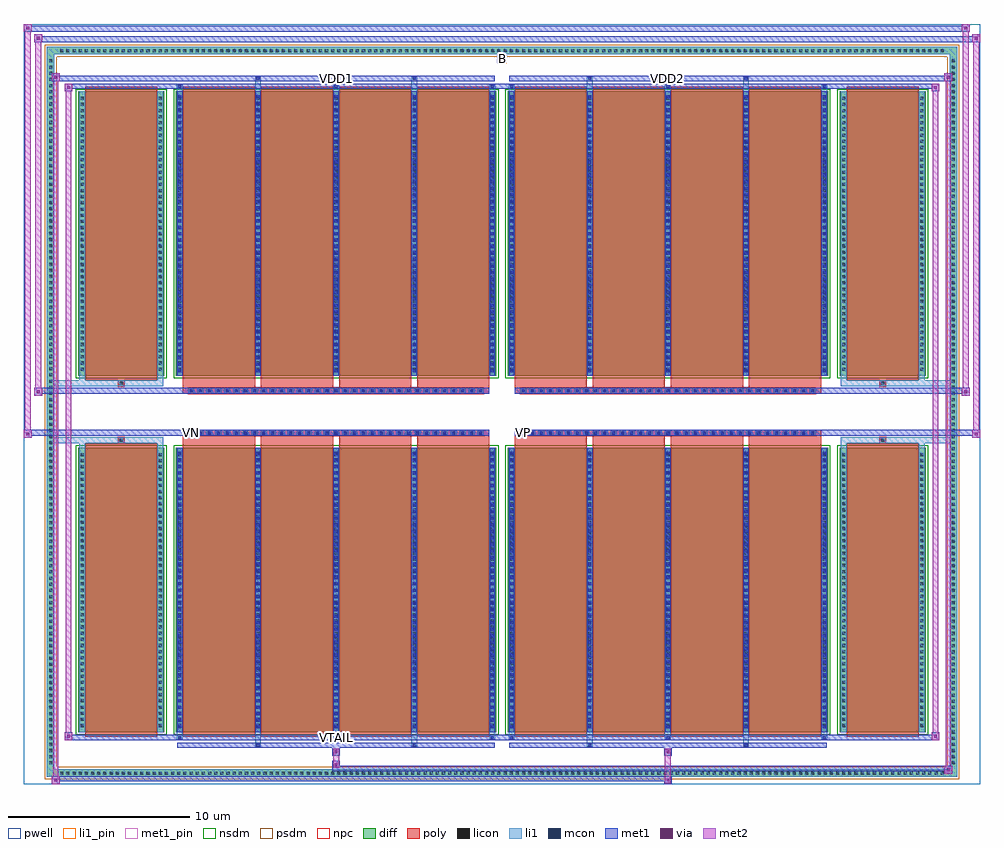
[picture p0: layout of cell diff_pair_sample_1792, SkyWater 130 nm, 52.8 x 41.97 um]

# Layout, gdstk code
import gdstk
lib = gdstk.Library(unit=1e-6, precision=5e-09)
def R(c, l, rs):  # rectangles x0, y0, x1, y1
    for r in rs: c.add(gdstk.rectangle(r[:2], r[2:], *l))
def A(c, l, x, y, w, h, nx, ny, dx, dy):  # array of equal rectangles
    R(c, l, [(x+i*dx, y+j*dy, x+i*dx+w, y+j*dy+h) for i in range(nx) for j in range(ny)])
def P(c, l, *ps):  # polygons
    for p in ps: c.add(gdstk.Polygon(p, *l))
pwell = (64, 44)
diff = (65, 20)
poly = (66, 20)
licon = (66, 44)
li1_pin = (67, 16)
li1 = (67, 20)
mcon = (67, 44)
met1_pin = (68, 16)
met1 = (68, 20)
via = (68, 44)
met2 = (69, 20)
nsdm = (93, 44)
psdm = (94, 20)
npc = (95, 20)

diff_pair_sample_1792 = lib.new_cell('diff_pair_sample_1792')
R(diff_pair_sample_1792, pwell, [(-26.4,-20.55,26.4,21.42), (-23.72,-18.74,-0.01,-0.8), (0.01,-18.74,23.72,-0.8), (-23.72,0.8,-0.01,18.74), (0.01,0.8,23.72,18.74)])
A(diff_pair_sample_1792, diff, -24.515, -20.15, 0.41, 0.41, 144, 2, 0.34, 39.89)
A(diff_pair_sample_1792, diff, -25.13, -19.585, 0.41, 0.41, 1, 115, 0, 0.34)
A(diff_pair_sample_1792, diff, 24.72, -19.585, 0.41, 0.41, 1, 115, 0, 0.34)
R(diff_pair_sample_1792, diff, [(-24.515,-20.15,24.515,-19.74), (-25.13,-19.585,-24.72,19.585), (24.72,-19.585,25.13,19.585), (-23.41,-17.695,-18.65,-1.985), (-18.01,-17.695,-0.32,-1.985), (0.32,-17.695,18.01,-1.985), (18.65,-17.695,23.41,-1.985), (-23.41,1.985,-18.65,17.695), (-18.01,1.985,-0.32,17.695), (0.32,1.985,18.01,17.695), (18.65,1.985,23.41,17.695), (-24.515,19.74,24.515,20.15)])
P(diff_pair_sample_1792, diff, [(25.13,20.15),(-25.13,20.15),(-25.13,-19.74),(-24.72,-19.74),(-24.72,19.74),(24.72,19.74),(24.72,-19.74),(-24.72,-19.74),(-25.13,-19.74),(-25.13,-20.15),(25.13,-20.15)])
A(diff_pair_sample_1792, poly, -17.62, -17.945, 3.98, 16.21, 4, 2, 4.31, 19.68)
A(diff_pair_sample_1792, poly, 0.71, -17.945, 3.98, 16.21, 4, 2, 4.31, 19.68)
A(diff_pair_sample_1792, poly, -17.62, -1.735, 3.98, 0.405, 4, 2, 4.31, 3.065)
A(diff_pair_sample_1792, poly, 0.71, -1.735, 3.98, 0.405, 4, 2, 4.31, 3.065)
A(diff_pair_sample_1792, poly, -17.33, -1.33, 0.33, 0.33, 33, 2, 0.5, 2.33)
A(diff_pair_sample_1792, poly, 1, -1.33, 0.33, 0.33, 33, 2, 0.5, 2.33)
R(diff_pair_sample_1792, poly, [(-23.02,-17.945,-19.04,-1.735), (19.04,-17.945,23.02,-1.735), (-21.195,-1.735,-20.865,-1.405), (-21.195,-1.735,-20.865,-1.405), (20.865,-1.735,21.195,-1.405), (20.865,-1.735,21.195,-1.405), (-17.62,-1.33,-0.71,-1), (0.71,-1.33,17.62,-1), (-17.62,1,-0.71,1.33), (0.71,1,17.62,1.33), (-21.195,1.405,-20.865,1.735), (-21.195,1.405,-20.865,1.735), (20.865,1.405,21.195,1.735), (20.865,1.405,21.195,1.735), (-23.02,1.735,-19.04,17.945), (19.04,1.735,23.02,17.945)])
A(diff_pair_sample_1792, licon, -24.395, -20.03, 0.17, 0.17, 144, 2, 0.34, 39.89)
A(diff_pair_sample_1792, licon, -25.01, -19.465, 0.17, 0.17, 1, 115, 0, 0.34)
A(diff_pair_sample_1792, licon, 24.84, -19.465, 0.17, 0.17, 1, 115, 0, 0.34)
A(diff_pair_sample_1792, licon, -23.27, -17.405, 0.17, 0.17, 1, 45, 0, 0.34)
A(diff_pair_sample_1792, licon, -18.96, -17.405, 0.17, 0.17, 1, 45, 0, 0.34)
A(diff_pair_sample_1792, licon, -17.87, -17.405, 0.17, 0.17, 5, 45, 4.31, 0.34)
A(diff_pair_sample_1792, licon, 0.46, -17.405, 0.17, 0.17, 5, 45, 4.31, 0.34)
A(diff_pair_sample_1792, licon, 18.79, -17.405, 0.17, 0.17, 1, 45, 0, 0.34)
A(diff_pair_sample_1792, licon, 23.1, -17.405, 0.17, 0.17, 1, 45, 0, 0.34)
A(diff_pair_sample_1792, licon, -17.25, -1.25, 0.17, 0.17, 33, 2, 0.5, 2.33)
A(diff_pair_sample_1792, licon, 1.08, -1.25, 0.17, 0.17, 33, 2, 0.5, 2.33)
A(diff_pair_sample_1792, licon, -23.27, 2.275, 0.17, 0.17, 1, 45, 0, 0.34)
A(diff_pair_sample_1792, licon, -18.96, 2.275, 0.17, 0.17, 1, 45, 0, 0.34)
A(diff_pair_sample_1792, licon, -17.87, 2.275, 0.17, 0.17, 5, 45, 4.31, 0.34)
A(diff_pair_sample_1792, licon, 0.46, 2.275, 0.17, 0.17, 5, 45, 4.31, 0.34)
A(diff_pair_sample_1792, licon, 18.79, 2.275, 0.17, 0.17, 1, 45, 0, 0.34)
A(diff_pair_sample_1792, licon, 23.1, 2.275, 0.17, 0.17, 1, 45, 0, 0.34)
R(diff_pair_sample_1792, licon, [(-21.115,-1.655,-20.945,-1.485), (20.945,-1.655,21.115,-1.485), (-21.115,1.485,-20.945,1.655), (20.945,1.485,21.115,1.655)])
R(diff_pair_sample_1792, li1_pin, [(-0.25,19.24,0.25,19.74)])
A(diff_pair_sample_1792, li1, -24.475, -20.11, 0.33, 0.33, 144, 2, 0.34, 39.89)
A(diff_pair_sample_1792, li1, -25.09, -19.545, 0.33, 0.33, 1, 115, 0, 0.34)
A(diff_pair_sample_1792, li1, 24.76, -19.545, 0.33, 0.33, 1, 115, 0, 0.34)
A(diff_pair_sample_1792, li1, -17.95, -18.07, 0.33, 0.375, 3, 2, 8.62, 35.765)
A(diff_pair_sample_1792, li1, -17.87, -18.07, 0.17, 0.17, 3, 2, 8.62, 35.97)
A(diff_pair_sample_1792, li1, 0.38, -18.07, 0.33, 0.375, 3, 2, 8.62, 35.765)
A(diff_pair_sample_1792, li1, 0.46, -18.07, 0.17, 0.17, 3, 2, 8.62, 35.97)
A(diff_pair_sample_1792, li1, -17.95, -17.695, 0.33, 15.71, 5, 2, 4.31, 19.68)
A(diff_pair_sample_1792, li1, 0.38, -17.695, 0.33, 15.71, 5, 2, 4.31, 19.68)
A(diff_pair_sample_1792, li1, -23.35, -17.485, 0.33, 0.33, 1, 45, 0, 0.34)
A(diff_pair_sample_1792, li1, -19.04, -17.485, 0.33, 0.33, 1, 45, 0, 0.34)
A(diff_pair_sample_1792, li1, -17.95, -17.485, 0.33, 0.33, 5, 45, 4.31, 0.34)
A(diff_pair_sample_1792, li1, -17.87, -17.485, 0.17, 0.17, 5, 43, 4.31, 0.36)
A(diff_pair_sample_1792, li1, -17.87, -17.485, 0.17, 15.29, 5, 2, 4.31, 19.68)
A(diff_pair_sample_1792, li1, 0.38, -17.485, 0.33, 0.33, 5, 45, 4.31, 0.34)
A(diff_pair_sample_1792, li1, 0.46, -17.485, 0.17, 0.17, 5, 43, 4.31, 0.36)
A(diff_pair_sample_1792, li1, 0.46, -17.485, 0.17, 15.29, 5, 2, 4.31, 19.68)
A(diff_pair_sample_1792, li1, 18.71, -17.485, 0.33, 0.33, 1, 45, 0, 0.34)
A(diff_pair_sample_1792, li1, 23.02, -17.485, 0.33, 0.33, 1, 45, 0, 0.34)
A(diff_pair_sample_1792, li1, -17.33, -1.33, 0.33, 0.33, 33, 2, 0.5, 2.33)
A(diff_pair_sample_1792, li1, 1, -1.33, 0.33, 0.33, 33, 2, 0.5, 2.33)
A(diff_pair_sample_1792, li1, -23.35, 2.195, 0.33, 0.33, 1, 45, 0, 0.34)
A(diff_pair_sample_1792, li1, -19.04, 2.195, 0.33, 0.33, 1, 45, 0, 0.34)
A(diff_pair_sample_1792, li1, -17.95, 2.195, 0.33, 0.33, 5, 45, 4.31, 0.34)
A(diff_pair_sample_1792, li1, -17.87, 2.195, 0.17, 0.17, 5, 43, 4.31, 0.36)
A(diff_pair_sample_1792, li1, 0.38, 2.195, 0.33, 0.33, 5, 45, 4.31, 0.34)
A(diff_pair_sample_1792, li1, 0.46, 2.195, 0.17, 0.17, 5, 43, 4.31, 0.36)
A(diff_pair_sample_1792, li1, 18.71, 2.195, 0.33, 0.33, 1, 45, 0, 0.34)
A(diff_pair_sample_1792, li1, 23.02, 2.195, 0.33, 0.33, 1, 45, 0, 0.34)
R(diff_pair_sample_1792, li1, [(-25.13,-20.15,-24.72,-19.74), (-25.13,-20.15,-24.72,-19.74), (-24.72,-20.15,24.72,-19.74), (24.72,-20.15,25.13,-19.74), (24.72,-20.15,25.13,-19.74), (-25.13,-19.74,-24.72,19.74), (24.72,-19.74,25.13,19.74), (-13.64,-18.5,-13.31,-17.695), (-13.56,-18.5,-13.39,-18.33), (-5.02,-18.5,-4.69,-17.695), (-4.94,-18.5,-4.77,-18.33), (4.69,-18.5,5.02,-17.695), (4.77,-18.5,4.94,-18.33), (13.31,-18.5,13.64,-17.695), (13.39,-18.5,13.56,-18.33), (-23.35,-17.695,-23.02,-1.985), (-19.04,-17.695,-18.71,-1.985), (18.71,-17.695,19.04,-1.985), (23.02,-17.695,23.35,-1.985), (-23.35,-1.985,-23.02,-1.405), (-19.04,-1.985,-18.71,-1.405), (18.71,-1.985,19.04,-1.405), (23.02,-1.985,23.35,-1.405), (-25.13,-1.735,-21.195,-1.405), (-23.35,-1.735,-21.195,-1.405), (-21.195,-1.735,-20.865,-1.405), (-20.865,-1.735,-18.71,-1.405), (18.71,-1.735,20.865,-1.405), (20.865,-1.735,21.195,-1.405), (20.865,-1.735,25.13,-1.405), (21.195,-1.735,23.35,-1.405), (-25.13,1.405,-21.195,1.735), (-23.35,1.405,-21.195,1.735), (-23.35,1.405,-23.02,1.985), (-21.195,1.405,-20.865,1.735), (-20.865,1.405,-18.71,1.735), (-19.04,1.405,-18.71,1.985), (18.71,1.405,20.865,1.735), (18.71,1.405,19.04,1.985), (20.865,1.405,21.195,1.735), (20.865,1.405,25.13,1.735), (21.195,1.405,23.35,1.735), (23.02,1.405,23.35,1.985), (-23.35,1.985,-23.02,17.695), (-19.04,1.985,-18.71,17.695), (18.71,1.985,19.04,17.695), (23.02,1.985,23.35,17.695), (-13.64,17.695,-13.31,18.5), (-5.02,17.695,-4.69,18.5), (4.69,17.695,5.02,18.5), (13.31,17.695,13.64,18.5), (-13.56,18.33,-13.39,18.5), (-4.94,18.33,-4.77,18.5), (4.77,18.33,4.94,18.5), (13.39,18.33,13.56,18.5), (-25.13,19.74,-24.72,20.15), (-25.13,19.74,-24.72,20.15), (-24.72,19.74,24.72,20.15), (24.72,19.74,25.13,20.15), (24.72,19.74,25.13,20.15)])
A(diff_pair_sample_1792, mcon, -17.87, -18.07, 0.17, 0.17, 3, 2, 8.62, 35.97)
A(diff_pair_sample_1792, mcon, 0.46, -18.07, 0.17, 0.17, 3, 2, 8.62, 35.97)
A(diff_pair_sample_1792, mcon, -17.87, -17.485, 0.17, 0.17, 5, 43, 4.31, 0.36)
A(diff_pair_sample_1792, mcon, 0.46, -17.485, 0.17, 0.17, 5, 43, 4.31, 0.36)
A(diff_pair_sample_1792, mcon, -17.25, -1.25, 0.17, 0.17, 33, 2, 0.5, 2.33)
A(diff_pair_sample_1792, mcon, 1.08, -1.25, 0.17, 0.17, 33, 2, 0.5, 2.33)
A(diff_pair_sample_1792, mcon, -17.87, 2.195, 0.17, 0.17, 5, 43, 4.31, 0.36)
A(diff_pair_sample_1792, mcon, 0.46, 2.195, 0.17, 0.17, 5, 43, 4.31, 0.36)
R(diff_pair_sample_1792, mcon, [(-13.56,-18.5,-13.39,-18.33), (-4.94,-18.5,-4.77,-18.33), (4.77,-18.5,4.94,-18.33), (13.39,-18.5,13.56,-18.33), (-13.56,18.33,-13.39,18.5), (-4.94,18.33,-4.77,18.5), (4.77,18.33,4.94,18.5), (13.39,18.33,13.56,18.5)])
R(diff_pair_sample_1792, met1_pin, [(-9.3,-18.11,-9.03,-17.84), (-17.3,-1.29,-17.03,-1.02), (1.03,-1.29,1.3,-1.02), (-9.3,18.29,-9.03,18.56), (9.03,18.29,9.3,18.56)])
A(diff_pair_sample_1792, met1, -17.93, -18.13, 0.29, 0.29, 3, 2, 8.62, 35.97)
A(diff_pair_sample_1792, met1, 0.4, -18.13, 0.29, 0.29, 3, 2, 8.62, 35.97)
A(diff_pair_sample_1792, met1, -17.93, -17.695, 0.29, 15.71, 5, 2, 4.31, 19.68)
A(diff_pair_sample_1792, met1, 0.4, -17.695, 0.29, 15.71, 5, 2, 4.31, 19.68)
A(diff_pair_sample_1792, met1, -17.93, -17.545, 0.29, 0.29, 5, 43, 4.31, 0.36)
A(diff_pair_sample_1792, met1, 0.4, -17.545, 0.29, 0.29, 5, 43, 4.31, 0.36)
A(diff_pair_sample_1792, met1, -17.31, -1.31, 0.29, 0.29, 33, 2, 0.5, 2.33)
A(diff_pair_sample_1792, met1, 1.02, -1.31, 0.29, 0.29, 33, 2, 0.5, 2.33)
A(diff_pair_sample_1792, met1, -17.93, 2.135, 0.29, 0.29, 5, 43, 4.31, 0.36)
A(diff_pair_sample_1792, met1, 0.4, 2.135, 0.29, 0.29, 5, 43, 4.31, 0.36)
R(diff_pair_sample_1792, met1, [(-24.86,-20.55,-24.43,-20.12), (8.95,-20.55,9.38,-20.12), (-24.86,-20.41,9.38,-20.12), (24.43,-19.98,24.86,-19.55), (-9.38,-19.84,24.86,-19.55), (-9.38,-19.7,-8.95,-19.27), (-9.38,-18.99,-8.95,-18.56), (8.95,-18.99,9.38,-18.56), (-17.93,-18.56,-0.4,-18.27), (-13.62,-18.56,-13.33,-18.27), (-5,-18.56,-4.71,-18.27), (0.4,-18.56,17.93,-18.27), (4.71,-18.56,5,-18.27), (13.33,-18.56,13.62,-18.27), (-24.15,-18.13,-23.72,-17.7), (-24.15,-18.13,-17.93,-17.84), (-17.93,-18.13,-0.4,-17.84), (-0.4,-18.13,0.4,-17.84), (0.4,-18.13,17.93,-17.84), (17.93,-18.13,24.15,-17.84), (23.72,-18.13,24.15,-17.7), (-26.4,-1.43,-25.97,-1), (25.97,-1.43,26.4,-1), (-26.4,-1.33,-0.71,-1), (-17.62,-1.33,-0.71,-1), (0.71,-1.33,17.62,-1), (0.71,-1.33,26.4,-1), (-25.83,0.9,-25.4,1.33), (25.4,0.9,25.83,1.33), (-25.83,1,-17.62,1.33), (-17.62,1,-0.71,1.33), (0.71,1,17.62,1.33), (17.62,1,25.83,1.33), (-24.15,17.7,-23.72,18.13), (23.72,17.7,24.15,18.13), (-24.15,17.84,-17.93,18.13), (-17.93,17.84,-0.4,18.13), (-0.4,17.84,0.4,18.13), (0.4,17.84,17.93,18.13), (17.93,17.84,24.15,18.13), (-24.86,18.27,-24.43,18.7), (-24.86,18.27,-17.93,18.56), (-17.93,18.27,-0.4,18.56), (-13.62,18.27,-13.33,18.56), (-5,18.27,-4.71,18.56), (0.4,18.27,17.93,18.56), (4.71,18.27,5,18.56), (13.33,18.27,13.62,18.56), (17.93,18.27,24.86,18.56), (24.43,18.27,24.86,18.7), (-25.83,20.42,-25.4,20.85), (-25.83,20.42,-23.72,20.75), (-23.72,20.42,23.72,20.75), (23.72,20.42,26.4,20.75), (25.97,20.42,26.4,20.85), (-26.4,20.99,-25.97,21.42), (-26.4,20.99,-23.72,21.32), (-23.72,20.99,23.72,21.32), (23.72,20.99,25.83,21.32), (25.4,20.99,25.83,21.42)])
R(diff_pair_sample_1792, via, [(-24.72,-20.41,-24.57,-20.26), (9.09,-20.41,9.24,-20.26), (24.57,-19.84,24.72,-19.69), (-9.24,-19.56,-9.09,-19.41), (-9.24,-18.85,-9.09,-18.7), (9.09,-18.85,9.24,-18.7), (-24.01,-17.99,-23.86,-17.84), (23.86,-17.99,24.01,-17.84), (-26.26,-1.29,-26.11,-1.14), (26.11,-1.29,26.26,-1.14), (-25.69,1.04,-25.54,1.19), (25.54,1.04,25.69,1.19), (-24.01,17.84,-23.86,17.99), (23.86,17.84,24.01,17.99), (-24.72,18.41,-24.57,18.56), (24.57,18.41,24.72,18.56), (-25.69,20.56,-25.54,20.71), (26.11,20.56,26.26,20.71), (-26.26,21.13,-26.11,21.28), (25.54,21.13,25.69,21.28)])
R(diff_pair_sample_1792, met2, [(-24.86,-20.55,-24.43,-20.12), (-24.79,-20.55,-24.5,18.7), (-24.5,-20.55,-24.43,-20.12), (-24.81,-20.5,-24.48,-20.17), (9,-20.5,9.33,-20.17), (9,-20.17,9.33,-18.94), (24.43,-19.98,24.86,-19.55), (24.5,-19.98,24.79,18.7), (24.79,-19.98,24.86,-19.55), (24.48,-19.93,24.81,-19.6), (-9.33,-19.65,-9,-19.32), (-9.33,-19.32,-9,-18.94), (-9.33,-18.94,-9,-18.61), (9,-18.94,9.33,-18.61), (-24.15,-18.13,-23.72,-17.7), (-24.08,-18.13,-23.79,18.13), (-23.79,-18.13,-23.72,-17.7), (23.72,-18.13,24.15,-17.7), (23.79,-18.13,24.08,18.13), (24.08,-18.13,24.15,-17.7), (-24.1,-18.08,-23.77,-17.75), (23.77,-18.08,24.1,-17.75), (-26.4,-1.43,-25.97,-1), (-26.35,-1.43,-26.02,21.42), (-26.02,-1.43,-25.97,-1), (25.97,-1.43,26.4,-1), (26.02,-1.43,26.35,20.85), (26.35,-1.43,26.4,-1), (-26.35,-1.38,-26.02,-1.05), (26.02,-1.38,26.35,-1.05), (-25.83,0.9,-25.4,1.33), (-25.78,0.9,-25.45,20.85), (-25.45,0.9,-25.4,1.33), (25.4,0.9,25.83,1.33), (25.45,0.9,25.78,21.42), (25.78,0.9,25.83,1.33), (-25.78,0.95,-25.45,1.28), (25.45,0.95,25.78,1.28), (-24.15,17.7,-23.72,18.13), (-23.79,17.7,-23.72,18.13), (23.72,17.7,24.15,18.13), (24.08,17.7,24.15,18.13), (-24.1,17.75,-23.77,18.08), (23.77,17.75,24.1,18.08), (-24.86,18.27,-24.43,18.7), (-24.5,18.27,-24.43,18.7), (24.43,18.27,24.86,18.7), (24.79,18.27,24.86,18.7), (-24.81,18.32,-24.48,18.65), (24.48,18.32,24.81,18.65), (-25.83,20.42,-25.4,20.85), (-25.45,20.42,-25.4,20.85), (25.97,20.42,26.4,20.85), (26.35,20.42,26.4,20.85), (-25.78,20.47,-25.45,20.8), (26.02,20.47,26.35,20.8), (-26.4,20.99,-25.97,21.42), (-26.02,20.99,-25.97,21.42), (25.4,20.99,25.83,21.42), (25.78,20.99,25.83,21.42), (-26.35,21.04,-26.02,21.37), (25.45,21.04,25.78,21.37)])
R(diff_pair_sample_1792, nsdm, [(-23.54,-17.825,-18.52,-1.855), (-18.14,-17.825,-0.19,-1.855), (0.19,-17.825,18.14,-1.855), (18.52,-17.825,23.54,-1.855), (-23.54,1.855,-18.52,17.825), (-18.14,1.855,-0.19,17.825), (0.19,1.855,18.14,17.825), (18.52,1.855,23.54,17.825)])
P(diff_pair_sample_1792, psdm, [(25.26,20.28),(-25.26,20.28),(-25.26,-19.61),(-24.59,-19.61),(-24.59,19.61),(24.59,19.61),(24.59,-19.61),(-24.59,-19.61),(-25.26,-19.61),(-25.26,-20.28),(25.26,-20.28)])
A(diff_pair_sample_1792, npc, -17.35, -1.35, 0.37, 0.37, 33, 2, 0.5, 2.33)
A(diff_pair_sample_1792, npc, 0.98, -1.35, 0.37, 0.37, 33, 2, 0.5, 2.33)
R(diff_pair_sample_1792, npc, [(-21.215,-1.755,-20.845,-1.385), (20.845,-1.755,21.215,-1.385), (-17.35,-1.35,-16.48,-0.98), (-17.35,-1.35,-16.48,-0.98), (-16.85,-1.35,-15.98,-0.98), (-16.85,-1.35,-15.98,-0.98), (-16.35,-1.35,-15.48,-0.98), (-16.35,-1.35,-15.48,-0.98), (-15.85,-1.35,-14.98,-0.98), (-15.85,-1.35,-14.98,-0.98), (-15.35,-1.35,-14.48,-0.98), (-15.35,-1.35,-14.48,-0.98), (-14.85,-1.35,-13.98,-0.98), (-14.85,-1.35,-13.98,-0.98), (-14.35,-1.35,-13.48,-0.98), (-14.35,-1.35,-13.48,-0.98), (-13.85,-1.35,-12.98,-0.98), (-13.85,-1.35,-12.98,-0.98), (-13.35,-1.35,-12.48,-0.98), (-13.35,-1.35,-12.48,-0.98), (-12.85,-1.35,-11.98,-0.98), (-12.85,-1.35,-11.98,-0.98), (-12.35,-1.35,-11.48,-0.98), (-12.35,-1.35,-11.48,-0.98), (-11.85,-1.35,-10.98,-0.98), (-11.85,-1.35,-10.98,-0.98), (-11.35,-1.35,-10.48,-0.98), (-11.35,-1.35,-10.48,-0.98), (-10.85,-1.35,-9.98,-0.98), (-10.85,-1.35,-9.98,-0.98), (-10.35,-1.35,-9.48,-0.98), (-10.35,-1.35,-9.48,-0.98), (-9.85,-1.35,-8.98,-0.98), (-9.85,-1.35,-8.98,-0.98), (-9.35,-1.35,-8.48,-0.98), (-9.35,-1.35,-8.48,-0.98), (-8.85,-1.35,-7.98,-0.98), (-8.85,-1.35,-7.98,-0.98), (-8.35,-1.35,-7.48,-0.98), (-8.35,-1.35,-7.48,-0.98), (-7.85,-1.35,-6.98,-0.98), (-7.85,-1.35,-6.98,-0.98), (-7.35,-1.35,-6.48,-0.98), (-7.35,-1.35,-6.48,-0.98), (-6.85,-1.35,-5.98,-0.98), (-6.85,-1.35,-5.98,-0.98), (-6.35,-1.35,-5.48,-0.98), (-6.35,-1.35,-5.48,-0.98), (-5.85,-1.35,-4.98,-0.98), (-5.85,-1.35,-4.98,-0.98), (-5.35,-1.35,-4.48,-0.98), (-5.35,-1.35,-4.48,-0.98), (-4.85,-1.35,-3.98,-0.98), (-4.85,-1.35,-3.98,-0.98), (-4.35,-1.35,-3.48,-0.98), (-4.35,-1.35,-3.48,-0.98), (-3.85,-1.35,-2.98,-0.98), (-3.85,-1.35,-2.98,-0.98), (-3.35,-1.35,-2.48,-0.98), (-3.35,-1.35,-2.48,-0.98), (-2.85,-1.35,-1.98,-0.98), (-2.85,-1.35,-1.98,-0.98), (-2.35,-1.35,-1.48,-0.98), (-2.35,-1.35,-1.48,-0.98), (-1.85,-1.35,-0.98,-0.98), (-1.85,-1.35,-0.98,-0.98), (0.98,-1.35,1.85,-0.98), (0.98,-1.35,1.85,-0.98), (1.48,-1.35,2.35,-0.98), (1.48,-1.35,2.35,-0.98), (1.98,-1.35,2.85,-0.98), (1.98,-1.35,2.85,-0.98), (2.48,-1.35,3.35,-0.98), (2.48,-1.35,3.35,-0.98), (2.98,-1.35,3.85,-0.98), (2.98,-1.35,3.85,-0.98), (3.48,-1.35,4.35,-0.98), (3.48,-1.35,4.35,-0.98), (3.98,-1.35,4.85,-0.98), (3.98,-1.35,4.85,-0.98), (4.48,-1.35,5.35,-0.98), (4.48,-1.35,5.35,-0.98), (4.98,-1.35,5.85,-0.98), (4.98,-1.35,5.85,-0.98), (5.48,-1.35,6.35,-0.98), (5.48,-1.35,6.35,-0.98), (5.98,-1.35,6.85,-0.98), (5.98,-1.35,6.85,-0.98), (6.48,-1.35,7.35,-0.98), (6.48,-1.35,7.35,-0.98), (6.98,-1.35,7.85,-0.98), (6.98,-1.35,7.85,-0.98), (7.48,-1.35,8.35,-0.98), (7.48,-1.35,8.35,-0.98), (7.98,-1.35,8.85,-0.98), (7.98,-1.35,8.85,-0.98), (8.48,-1.35,9.35,-0.98), (8.48,-1.35,9.35,-0.98), (8.98,-1.35,9.85,-0.98), (8.98,-1.35,9.85,-0.98), (9.48,-1.35,10.35,-0.98), (9.48,-1.35,10.35,-0.98), (9.98,-1.35,10.85,-0.98), (9.98,-1.35,10.85,-0.98), (10.48,-1.35,11.35,-0.98), (10.48,-1.35,11.35,-0.98), (10.98,-1.35,11.85,-0.98), (10.98,-1.35,11.85,-0.98), (11.48,-1.35,12.35,-0.98), (11.48,-1.35,12.35,-0.98), (11.98,-1.35,12.85,-0.98), (11.98,-1.35,12.85,-0.98), (12.48,-1.35,13.35,-0.98), (12.48,-1.35,13.35,-0.98), (12.98,-1.35,13.85,-0.98), (12.98,-1.35,13.85,-0.98), (13.48,-1.35,14.35,-0.98), (13.48,-1.35,14.35,-0.98), (13.98,-1.35,14.85,-0.98), (13.98,-1.35,14.85,-0.98), (14.48,-1.35,15.35,-0.98), (14.48,-1.35,15.35,-0.98), (14.98,-1.35,15.85,-0.98), (14.98,-1.35,15.85,-0.98), (15.48,-1.35,16.35,-0.98), (15.48,-1.35,16.35,-0.98), (15.98,-1.35,16.85,-0.98), (15.98,-1.35,16.85,-0.98), (16.48,-1.35,17.35,-0.98), (16.48,-1.35,17.35,-0.98), (-17.35,0.98,-16.48,1.35), (-17.35,0.98,-16.48,1.35), (-16.85,0.98,-15.98,1.35), (-16.85,0.98,-15.98,1.35), (-16.35,0.98,-15.48,1.35), (-16.35,0.98,-15.48,1.35), (-15.85,0.98,-14.98,1.35), (-15.85,0.98,-14.98,1.35), (-15.35,0.98,-14.48,1.35), (-15.35,0.98,-14.48,1.35), (-14.85,0.98,-13.98,1.35), (-14.85,0.98,-13.98,1.35), (-14.35,0.98,-13.48,1.35), (-14.35,0.98,-13.48,1.35), (-13.85,0.98,-12.98,1.35), (-13.85,0.98,-12.98,1.35), (-13.35,0.98,-12.48,1.35), (-13.35,0.98,-12.48,1.35), (-12.85,0.98,-11.98,1.35), (-12.85,0.98,-11.98,1.35), (-12.35,0.98,-11.48,1.35), (-12.35,0.98,-11.48,1.35), (-11.85,0.98,-10.98,1.35), (-11.85,0.98,-10.98,1.35), (-11.35,0.98,-10.48,1.35), (-11.35,0.98,-10.48,1.35), (-10.85,0.98,-9.98,1.35), (-10.85,0.98,-9.98,1.35), (-10.35,0.98,-9.48,1.35), (-10.35,0.98,-9.48,1.35), (-9.85,0.98,-8.98,1.35), (-9.85,0.98,-8.98,1.35), (-9.35,0.98,-8.48,1.35), (-9.35,0.98,-8.48,1.35), (-8.85,0.98,-7.98,1.35), (-8.85,0.98,-7.98,1.35), (-8.35,0.98,-7.48,1.35), (-8.35,0.98,-7.48,1.35), (-7.85,0.98,-6.98,1.35), (-7.85,0.98,-6.98,1.35), (-7.35,0.98,-6.48,1.35), (-7.35,0.98,-6.48,1.35), (-6.85,0.98,-5.98,1.35), (-6.85,0.98,-5.98,1.35), (-6.35,0.98,-5.48,1.35), (-6.35,0.98,-5.48,1.35), (-5.85,0.98,-4.98,1.35), (-5.85,0.98,-4.98,1.35), (-5.35,0.98,-4.48,1.35), (-5.35,0.98,-4.48,1.35), (-4.85,0.98,-3.98,1.35), (-4.85,0.98,-3.98,1.35), (-4.35,0.98,-3.48,1.35), (-4.35,0.98,-3.48,1.35), (-3.85,0.98,-2.98,1.35), (-3.85,0.98,-2.98,1.35), (-3.35,0.98,-2.48,1.35), (-3.35,0.98,-2.48,1.35), (-2.85,0.98,-1.98,1.35), (-2.85,0.98,-1.98,1.35), (-2.35,0.98,-1.48,1.35), (-2.35,0.98,-1.48,1.35), (-1.85,0.98,-0.98,1.35), (-1.85,0.98,-0.98,1.35), (0.98,0.98,1.85,1.35), (0.98,0.98,1.85,1.35), (1.48,0.98,2.35,1.35), (1.48,0.98,2.35,1.35), (1.98,0.98,2.85,1.35), (1.98,0.98,2.85,1.35), (2.48,0.98,3.35,1.35), (2.48,0.98,3.35,1.35), (2.98,0.98,3.85,1.35), (2.98,0.98,3.85,1.35), (3.48,0.98,4.35,1.35), (3.48,0.98,4.35,1.35), (3.98,0.98,4.85,1.35), (3.98,0.98,4.85,1.35), (4.48,0.98,5.35,1.35), (4.48,0.98,5.35,1.35), (4.98,0.98,5.85,1.35), (4.98,0.98,5.85,1.35), (5.48,0.98,6.35,1.35), (5.48,0.98,6.35,1.35), (5.98,0.98,6.85,1.35), (5.98,0.98,6.85,1.35), (6.48,0.98,7.35,1.35), (6.48,0.98,7.35,1.35), (6.98,0.98,7.85,1.35), (6.98,0.98,7.85,1.35), (7.48,0.98,8.35,1.35), (7.48,0.98,8.35,1.35), (7.98,0.98,8.85,1.35), (7.98,0.98,8.85,1.35), (8.48,0.98,9.35,1.35), (8.48,0.98,9.35,1.35), (8.98,0.98,9.85,1.35), (8.98,0.98,9.85,1.35), (9.48,0.98,10.35,1.35), (9.48,0.98,10.35,1.35), (9.98,0.98,10.85,1.35), (9.98,0.98,10.85,1.35), (10.48,0.98,11.35,1.35), (10.48,0.98,11.35,1.35), (10.98,0.98,11.85,1.35), (10.98,0.98,11.85,1.35), (11.48,0.98,12.35,1.35), (11.48,0.98,12.35,1.35), (11.98,0.98,12.85,1.35), (11.98,0.98,12.85,1.35), (12.48,0.98,13.35,1.35), (12.48,0.98,13.35,1.35), (12.98,0.98,13.85,1.35), (12.98,0.98,13.85,1.35), (13.48,0.98,14.35,1.35), (13.48,0.98,14.35,1.35), (13.98,0.98,14.85,1.35), (13.98,0.98,14.85,1.35), (14.48,0.98,15.35,1.35), (14.48,0.98,15.35,1.35), (14.98,0.98,15.85,1.35), (14.98,0.98,15.85,1.35), (15.48,0.98,16.35,1.35), (15.48,0.98,16.35,1.35), (15.98,0.98,16.85,1.35), (15.98,0.98,16.85,1.35), (16.48,0.98,17.35,1.35), (16.48,0.98,17.35,1.35), (-21.215,1.385,-20.845,1.755), (20.845,1.385,21.215,1.755)])
diff_pair_sample_1792.add(gdstk.Label('VTAIL', (-9.165,-17.975), layer=68, texttype=5))
diff_pair_sample_1792.add(gdstk.Label('VN', (-17.165,-1.155), layer=68, texttype=5))
diff_pair_sample_1792.add(gdstk.Label('VP', (1.165,-1.155), layer=68, texttype=5))
diff_pair_sample_1792.add(gdstk.Label('B', (0,19.49), layer=67, texttype=5))
diff_pair_sample_1792.add(gdstk.Label('VDD2', (9.165,18.425), layer=68, texttype=5))
diff_pair_sample_1792.add(gdstk.Label('VDD1', (-9.165,18.425), layer=68, texttype=5))

lib.write_gds('diff_pair_sample_1792.gds')
